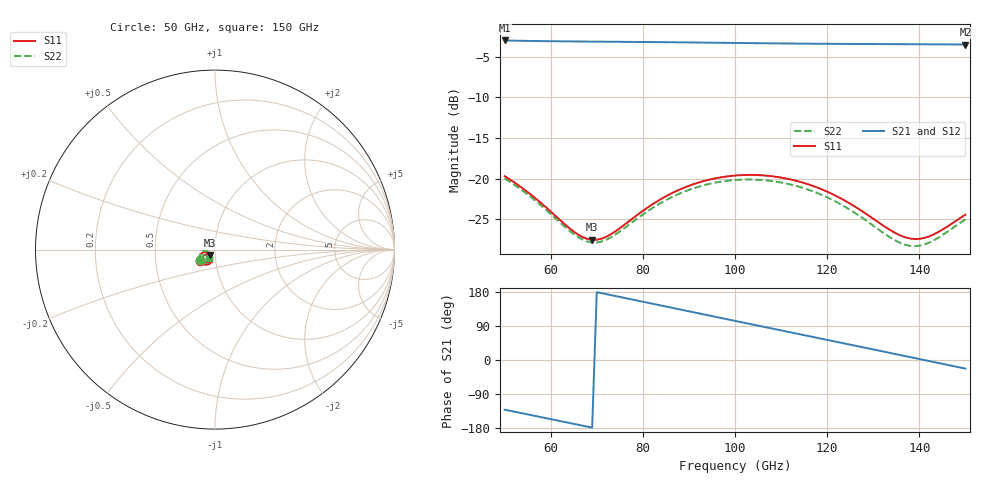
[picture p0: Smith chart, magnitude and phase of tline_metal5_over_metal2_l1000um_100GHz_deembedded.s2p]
! Created with skrf 2.0.1 (http://scikit-rf.org).
# GHz S DB R 50.0
!freq dBS11 angS11 dBS21 angS21 dBS12 angS12 dBS22 angS22
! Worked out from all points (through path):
!   101 points, 50 GHz to 150 GHz, reference 50 ohm
!   highest |S21| = -2.98 dB at 50 GHz (marker M1); lowest = -3.5 dB at 150 GHz (marker M2)
!   group delay of S21, straight-line fit = 6.99 ps
!   lowest |S11| = -27.5 dB at 69 GHz (marker M3), VSWR 1.09, Z = 47.3 - j3.06 ohm
!   |S11| at or under -10 dB: start of sweep to end of sweep
!   |S22| runs from -28.3 to -20.0 dB; largest |S21 - S12| = 8.2e-14
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50  -19.68 -143.5  -2.98 -131.1  -2.98 -131.1  -19.96 -145.0
55  -21.64 -150.5  -3.03 -143.5  -3.03 -143.5  -21.94 -152.3
59  -23.53 -152.5  -3.07 -153.5  -3.07 -153.5  -23.84 -154.6
64  -26.06 -147.0  -3.10 -166.0  -3.10 -166.0  -26.37 -149.6
67  -27.20 -137.9  -3.11 -173.5  -3.11 -173.5  -27.52 -140.8
69  -27.52 -129.9  -3.12 -178.5  -3.12 -178.5  -27.85 -133.1
72  -27.16 -118.3  -3.13 174.0  -3.13 174.0  -27.53 -121.8
76  -25.67 -108.5  -3.15 163.9  -3.15 163.9  -26.08 -112.3
84  -22.48 -107.6  -3.19 143.7  -3.19 143.7  -22.95 -111.9
92  -20.49 -117.7  -3.23 123.5  -3.23 123.5  -21.00 -122.6
96  -19.92 -124.2  -3.26 113.4  -3.26 113.4  -20.45 -129.4
100  -19.61 -131.2  -3.29 103.3  -3.29 103.3  -20.16 -136.6
104  -19.54 -138.1  -3.31 93.2  -3.31 93.2  -20.11 -143.9
108  -19.69 -145.0  -3.34 83.2  -3.34 83.2  -20.29 -151.1
112  -20.08 -151.6  -3.36 73.1  -3.36 73.1  -20.70 -157.9
117  -20.90 -158.8  -3.38 60.6  -3.38 60.6  -21.57 -165.5
126  -23.42 -166.5  -3.41 37.9  -3.41 37.9  -24.20 -173.8
134  -26.42 -159.5  -3.43 17.8  -3.43 17.8  -27.34 -166.3
138  -27.36 -147.9  -3.44 7.7  -3.44 7.7  -28.26 -153.9
141  -27.30 -137.6  -3.45 0.1  -3.45 0.1  -28.11 -143.2
144  -26.60 -128.9  -3.46 -7.5  -3.46 -7.5  -27.30 -134.6
150  -24.42 -120.9  -3.48 -22.7  -3.48 -22.7  -24.99 -127.5
